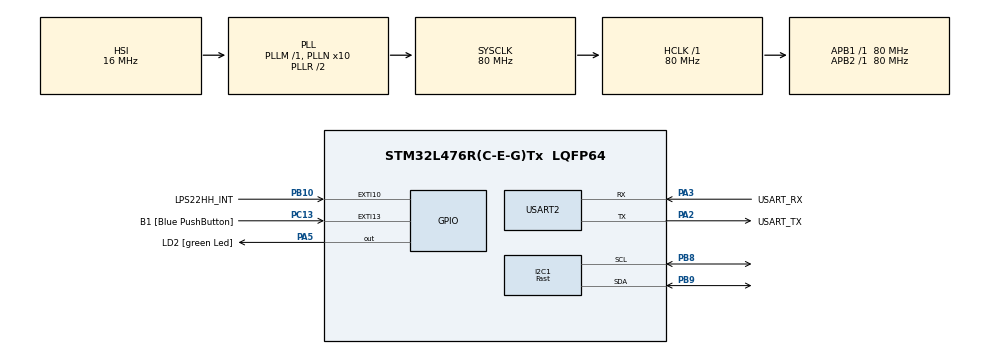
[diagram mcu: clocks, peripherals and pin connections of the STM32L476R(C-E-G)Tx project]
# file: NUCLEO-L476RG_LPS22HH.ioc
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I2C1.I2C_Speed_Mode=I2C_Fast
I2C1.Timing=0x00702991
Mcu.Family=STM32L4
Mcu.Name=STM32L476R(C-E-G)Tx
Mcu.Package=LQFP64
NVIC.EXTI15_10_IRQn=true\:0\:0\:false\:false\:true\:true\:true\:true
NVIC.PriorityGroup=NVIC_PRIORITYGROUP_4
PA2.GPIO_Label=USART_TX
PA2.GPIO_Mode=GPIO_MODE_AF_PP
PA2.GPIO_PuPd=GPIO_NOPULL
PA2.GPIO_Speed=GPIO_SPEED_FREQ_VERY_HIGH
PA2.Mode=Asynchronous
PA2.Signal=USART2_TX
PA3.GPIO_Label=USART_RX
PA3.GPIO_Mode=GPIO_MODE_AF_PP
PA3.GPIO_PuPd=GPIO_NOPULL
PA3.GPIO_Speed=GPIO_SPEED_FREQ_VERY_HIGH
PA3.Mode=Asynchronous
PA3.Signal=USART2_RX
PA5.GPIO_Label=LD2 [green Led]
PA5.GPIO_ModeDefaultOutputPP=GPIO_MODE_OUTPUT_PP
PA5.GPIO_PuPd=GPIO_NOPULL
PA5.GPIO_Speed=GPIO_SPEED_FREQ_LOW
PA5.Signal=GPIO_Output
PB10.GPIO_Label=LPS22HH_INT
PB10.Signal=GPXTI10
PB8.Mode=I2C
PB8.Signal=I2C1_SCL
PB9.Mode=I2C
PB9.Signal=I2C1_SDA
PC13.GPIO_Label=B1 [Blue PushButton]
PC13.GPIO_ModeDefaultEXTI=GPIO_MODE_IT_FALLING
PC13.GPIO_PuPd=GPIO_NOPULL
PC13.Signal=GPXTI13
ProjectManager.HeapSize=0x200
ProjectManager.StackSize=0x400
ProjectManager.TargetToolchain=STM32CubeIDE
RCC.ADCFreq_Value=64000000
RCC.AHBFreq_Value=80000000
RCC.APB1Freq_Value=80000000
RCC.APB1TimFreq_Value=80000000
RCC.APB2Freq_Value=80000000
RCC.APB2TimFreq_Value=80000000
RCC.CortexFreq_Value=80000000
RCC.HCLKFreq_Value=80000000
RCC.HSE_VALUE=8000000
RCC.HSI_VALUE=16000000
RCC.LSE_VALUE=32768
RCC.MSI_VALUE=4000000
RCC.PLLN=10
RCC.PLLSourceVirtual=RCC_PLLSOURCE_HSI
RCC.PREFETCH_ENABLE=1
RCC.SYSCLKFreq_VALUE=80000000
RCC.SYSCLKSource=RCC_SYSCLKSOURCE_PLLCLK
RCC.USBFreq_Value=64000000
RCC.VCOOutputFreq_Value=160000000
USART2.VirtualMode-Asynchronous=VM_ASYNC
board=NUCLEO-L476RG

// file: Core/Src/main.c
/* USER CODE BEGIN Header */
/**
  ******************************************************************************
  * @file           : main.c
  * @brief          : Main program body
  ******************************************************************************
  * @attention
  *
  * Copyright (c) 2022 STMicroelectronics.
  * All rights reserved.
  *
  * This software is licensed under terms that can be found in the LICENSE file
  * in the root directory of this software component.
  * If no LICENSE file comes with this software, it is provided AS-IS.
  *
  ******************************************************************************
  */
/* USER CODE END Header */
#include "main.h"

/* USER CODE BEGIN Includes */
#include <string.h>
#include <stdio.h>
#include "lps22hh_reg.h"
#include <cycle_dwt.h>
#include "NanoEdgeAI.h"

/* USER CODE END Includes */

/* USER CODE BEGIN PD */
/************************************************************ NEAI algorithm defines begin ************************************************************/
/************************************************************ Global settings part ************************************************************/
#ifndef SAMPLES
  #define SAMPLES           128         /* Should be between 16 & 4096 */
#endif
/************************************************************ Sensors configuration part ************************************************************/
#ifndef PRESSURE_ODR
  #define PRESSURE_ODR  LPS22HH_100_Hz  /* Shoud be between LPS22HH_1_Hz and LPS22HH_200_Hz */
#endif
/************************************************************ Datalogger / NEAI mode part ************************************************************/
#ifndef NEAI_MODE
  #define NEAI_MODE         0           /* 0: Datalogger mode, 1: NEAI functions mode */
#endif
#if (NEAI_MODE == 1)
  #ifndef NEAI_LEARN_NB
    #define NEAI_LEARN_NB   20          /* Number of buffers to be learn by the NEAI library */
  #endif
#endif
/************************************************************ NEAI algorithm defines end ************************************************************/
/* USER CODE END PD */

I2C_HandleTypeDef hi2c1;

UART_HandleTypeDef huart2;

/* USER CODE BEGIN PV */
static uint32_t data_raw_pressure;
static uint8_t whoamI, rst;
uint8_t neai_similarity = 0, neai_state = 0;
volatile uint8_t drdy = 0;
uint16_t neai_cnt = 0, drdy_counter = 0;
float neai_time = 0.0;
float neai_buffer[SAMPLES] = {0};
stmdev_ctx_t dev_ctx;

/* USER CODE END PV */

void SystemClock_Config(void);
static void MX_GPIO_Init(void);
static void MX_I2C1_Init(void);
static void MX_USART2_UART_Init(void);
/* USER CODE BEGIN PFP */
static int32_t platform_write(void *handle, uint8_t reg, const uint8_t *bufp, uint16_t len);
static int32_t platform_read(void *handle, uint8_t reg, uint8_t *bufp, uint16_t len);
static void lps22hh_initialize(void);
static void iks01a3_i2c_stuck_quirk(void);

/* USER CODE END PFP */

int main(void)
{
  /* USER CODE BEGIN 1 */
  /* Initialize mems driver interface */
  dev_ctx.write_reg = platform_write;
  dev_ctx.read_reg = platform_read;
  dev_ctx.handle = &hi2c1;
  /* USER CODE END 1 */

  /* MCU Configuration--------------------------------------------------------*/

  /* Reset of all peripherals, Initializes the Flash interface and the Systick. */
  HAL_Init();

  /* Configure the system clock */
  SystemClock_Config();

  /* USER CODE BEGIN SysInit */
  iks01a3_i2c_stuck_quirk();
  /* USER CODE END SysInit */

  /* Initialize all configured peripherals */
  MX_GPIO_Init();
  MX_I2C1_Init();
  MX_USART2_UART_Init();
  /* USER CODE BEGIN 2 */
  KIN1_InitCycleCounter();
  KIN1_EnableCycleCounter();
  lps22hh_initialize();
  if (NEAI_MODE) {
    neai_state = neai_anomalydetection_init();
    printf("Initialize NEAI library. NEAI init return: %d.\n",  neai_state);
  }
  /* USER CODE END 2 */

  /* Infinite loop */
  /* USER CODE BEGIN WHILE */
  while (1)
  {
    if (drdy) {
      /* Reset data ready condition */
      drdy = 0;
      /* Read pressure data */
      memset(&data_raw_pressure, 0x00, sizeof(uint32_t));
      lps22hh_pressure_raw_get(&dev_ctx, &data_raw_pressure);
      neai_buffer[drdy_counter] = lps22hh_from_lsb_to_hpa(data_raw_pressure);
      drdy_counter++;
      if (drdy_counter >= SAMPLES) {
        /* Set device in power down mode */
        lps22hh_data_rate_set(&dev_ctx, LPS22HH_POWER_DOWN);
#if NEAI_MODE
        uint32_t cycles_cnt = 0;
        if (neai_cnt < NEAI_LEARN_NB) {
          neai_cnt++;
          KIN1_ResetCycleCounter();
          neai_state = neai_anomalydetection_learn(neai_buffer);
          cycles_cnt = KIN1_GetCycleCounter();
          neai_time = (cycles_cnt * 1000000.0) / HAL_RCC_GetSysClockFreq();
          printf("Learn: %d / %d. NEAI learn return: %d. Cycles counter: %ld = %.1f µs at %ld Hz.\n",
                neai_cnt, NEAI_LEARN_NB, neai_state, cycles_cnt, neai_time, HAL_RCC_GetSysClockFreq());
        }
        else {
          KIN1_ResetCycleCounter();
          neai_state = neai_anomalydetection_detect(neai_buffer, &neai_similarity);
          cycles_cnt = KIN1_GetCycleCounter();
          neai_time = (cycles_cnt * 1000000.0) / HAL_RCC_GetSysClockFreq();
          printf("Similarity: %d / 100. NEAI detect return: %d. Cycles counter: %ld = %.1f µs at %ld Hz.\n",
                neai_similarity, neai_state, cycles_cnt, neai_time, HAL_RCC_GetSysClockFreq());
        }
#else
        for (uint16_t i = 0; i < SAMPLES; i++) {
          printf("%.3f ", neai_buffer[i]);
        }
        printf("\n");
#endif
        /* Reset drdy_counter in order to get a new buffer */
        drdy_counter = 0;
        /* Clean neai buffer */
        memset(neai_buffer, 0x00, SAMPLES * sizeof(float));
        /* Restart device at the desired data rate */
        lps22hh_data_rate_set(&dev_ctx, PRESSURE_ODR);
      }
    }
    /* USER CODE END WHILE */

  }
}

void SystemClock_Config(void)
{
  RCC_OscInitTypeDef RCC_OscInitStruct = {0};
  RCC_ClkInitTypeDef RCC_ClkInitStruct = {0};

  /** Configure the main internal regulator output voltage
  */
  if (HAL_PWREx_ControlVoltageScaling(PWR_REGULATOR_VOLTAGE_SCALE1) != HAL_OK)
  {
    Error_Handler();
  }

  /** Initializes the RCC Oscillators according to the specified parameters
  * in the RCC_OscInitTypeDef structure.
  */
  RCC_OscInitStruct.OscillatorType = RCC_OSCILLATORTYPE_HSI;
  RCC_OscInitStruct.HSIState = RCC_HSI_ON;
  RCC_OscInitStruct.HSICalibrationValue = RCC_HSICALIBRATION_DEFAULT;
  RCC_OscInitStruct.PLL.PLLState = RCC_PLL_ON;
  RCC_OscInitStruct.PLL.PLLSource = RCC_PLLSOURCE_HSI;
  RCC_OscInitStruct.PLL.PLLM = 1;
  RCC_OscInitStruct.PLL.PLLN = 10;
  RCC_OscInitStruct.PLL.PLLP = RCC_PLLP_DIV7;
  RCC_OscInitStruct.PLL.PLLQ = RCC_PLLQ_DIV2;
  RCC_OscInitStruct.PLL.PLLR = RCC_PLLR_DIV2;
  if (HAL_RCC_OscConfig(&RCC_OscInitStruct) != HAL_OK)
  {
    Error_Handler();
  }

  /** Initializes the CPU, AHB and APB buses clocks
  */
  RCC_ClkInitStruct.ClockType = RCC_CLOCKTYPE_HCLK|RCC_CLOCKTYPE_SYSCLK
                              |RCC_CLOCKTYPE_PCLK1|RCC_CLOCKTYPE_PCLK2;
  RCC_ClkInitStruct.SYSCLKSource = RCC_SYSCLKSOURCE_PLLCLK;
  RCC_ClkInitStruct.AHBCLKDivider = RCC_SYSCLK_DIV1;
  RCC_ClkInitStruct.APB1CLKDivider = RCC_HCLK_DIV1;
  RCC_ClkInitStruct.APB2CLKDivider = RCC_HCLK_DIV1;

  if (HAL_RCC_ClockConfig(&RCC_ClkInitStruct, FLASH_LATENCY_4) != HAL_OK)
  {
    Error_Handler();
  }
}

static void MX_I2C1_Init(void)
{

  hi2c1.Instance = I2C1;
  hi2c1.Init.Timing = 0x00702991;
  hi2c1.Init.OwnAddress1 = 0;
  hi2c1.Init.AddressingMode = I2C_ADDRESSINGMODE_7BIT;
  hi2c1.Init.DualAddressMode = I2C_DUALADDRESS_DISABLE;
  hi2c1.Init.OwnAddress2 = 0;
  hi2c1.Init.OwnAddress2Masks = I2C_OA2_NOMASK;
  hi2c1.Init.GeneralCallMode = I2C_GENERALCALL_DISABLE;
  hi2c1.Init.NoStretchMode = I2C_NOSTRETCH_DISABLE;
  if (HAL_I2C_Init(&hi2c1) != HAL_OK)
  {
    Error_Handler();
  }

  /** Configure Analogue filter
  */
  if (HAL_I2CEx_ConfigAnalogFilter(&hi2c1, I2C_ANALOGFILTER_ENABLE) != HAL_OK)
  {
    Error_Handler();
  }

  /** Configure Digital filter
  */
  if (HAL_I2CEx_ConfigDigitalFilter(&hi2c1, 0) != HAL_OK)
  {
    Error_Handler();
  }

}

static void MX_USART2_UART_Init(void)
{

  huart2.Instance = USART2;
  huart2.Init.BaudRate = 115200;
  huart2.Init.WordLength = UART_WORDLENGTH_8B;
  huart2.Init.StopBits = UART_STOPBITS_1;
  huart2.Init.Parity = UART_PARITY_NONE;
  huart2.Init.Mode = UART_MODE_TX_RX;
  huart2.Init.HwFlowCtl = UART_HWCONTROL_NONE;
  huart2.Init.OverSampling = UART_OVERSAMPLING_16;
  huart2.Init.OneBitSampling = UART_ONE_BIT_SAMPLE_DISABLE;
  huart2.AdvancedInit.AdvFeatureInit = UART_ADVFEATURE_NO_INIT;
  if (HAL_UART_Init(&huart2) != HAL_OK)
  {
    Error_Handler();
  }

}

static void MX_GPIO_Init(void)
{
  GPIO_InitTypeDef GPIO_InitStruct = {0};

  /* GPIO Ports Clock Enable */
  __HAL_RCC_GPIOC_CLK_ENABLE();
  __HAL_RCC_GPIOA_CLK_ENABLE();
  __HAL_RCC_GPIOB_CLK_ENABLE();

  /*Configure GPIO pin Output Level */
  HAL_GPIO_WritePin(LD2_GPIO_Port, LD2_Pin, GPIO_PIN_RESET);

  /*Configure GPIO pin : B1_Pin */
  GPIO_InitStruct.Pin = B1_Pin;
  GPIO_InitStruct.Mode = GPIO_MODE_IT_FALLING;
  GPIO_InitStruct.Pull = GPIO_NOPULL;
  HAL_GPIO_Init(B1_GPIO_Port, &GPIO_InitStruct);

  /*Configure GPIO pin : LD2_Pin */
  GPIO_InitStruct.Pin = LD2_Pin;
  GPIO_InitStruct.Mode = GPIO_MODE_OUTPUT_PP;
  GPIO_InitStruct.Pull = GPIO_NOPULL;
  GPIO_InitStruct.Speed = GPIO_SPEED_FREQ_LOW;
  HAL_GPIO_Init(LD2_GPIO_Port, &GPIO_InitStruct);

  /*Configure GPIO pin : LPS22HH_INT_Pin */
  GPIO_InitStruct.Pin = LPS22HH_INT_Pin;
  GPIO_InitStruct.Mode = GPIO_MODE_IT_RISING;
  GPIO_InitStruct.Pull = GPIO_NOPULL;
  HAL_GPIO_Init(LPS22HH_INT_GPIO_Port, &GPIO_InitStruct);

  /* EXTI interrupt init*/
  HAL_NVIC_SetPriority(EXTI15_10_IRQn, 0, 0);
  HAL_NVIC_EnableIRQ(EXTI15_10_IRQn);

}

/* USER CODE BEGIN 4 */
/**
  * @brief  Redirecting stdout to USART2 which is connected on the STLINK port
  * @retval
  * @param
  */
int __io_putchar(int ch)
{
 uint8_t c[1];
 c[0] = ch & 0x00FF;
 HAL_UART_Transmit(&huart2, &*c, 1, 10);
 return ch;
}

/**
  * @brief  EXTI line rising detection callback.
  * @param  GPIO_Pin Specifies the port pin connected to corresponding EXTI line.
  * @retval None
  */
void HAL_GPIO_EXTI_Callback(uint16_t GPIO_Pin)
{
  switch(GPIO_Pin) {
  case LPS22HH_INT_Pin:
    drdy = 1;
    break;
  }
}

/*
 * @brief  Write generic device register (platform dependent)
 *
 * @param  handle    customizable argument. In this examples is used in
 *                   order to select the correct sensor bus handler.
 * @param  reg       register to write
 * @param  bufp      pointer to data to write in register reg
 * @param  len       number of consecutive register to write
 *
 */
static int32_t platform_write(void *handle, uint8_t reg, const uint8_t *bufp, uint16_t len)
{
  HAL_I2C_Mem_Write(handle, LPS22HH_I2C_ADD_H, reg, I2C_MEMADD_SIZE_8BIT, (uint8_t*) bufp, len, 1000);
  return 0;
}

/*
 * @brief  Read generic device register (platform dependent)
 *
 * @param  handle    customizable argument. In this examples is used in
 *                   order to select the correct sensor bus handler.
 * @param  reg       register to read
 * @param  bufp      pointer to buffer that store the data read
 * @param  len       number of consecutive register to read
 *
 */
static int32_t platform_read(void *handle, uint8_t reg, uint8_t *bufp, uint16_t len)
{
  HAL_I2C_Mem_Read(handle, LPS22HH_I2C_ADD_H, reg, I2C_MEMADD_SIZE_8BIT, bufp, len, 1000);
  return 0;
}

/*
 * @brief  Initialize LPS22HH sensor interface
 *
 * @param  No
 *
 * @return No
 *
 */
static void lps22hh_initialize()
{
	/*
	 * Make sure the IRQ line is released before initializing the device
	 * otherwise it will hangs while receiving a software reset command
	 */
	if (HAL_GPIO_ReadPin(LPS22HH_INT_GPIO_Port, LPS22HH_INT_Pin)) {
		uint32_t dummy;
		lps22hh_pressure_raw_get(&dev_ctx, &dummy);
	}

  /* Check device ID */
  whoamI = 0;

  do {
    lps22hh_device_id_get(&dev_ctx, &whoamI);
  } while(whoamI != LPS22HH_ID);

  /* Restore default configuration */
  lps22hh_reset_set(&dev_ctx, PROPERTY_ENABLE);

  do {
    lps22hh_reset_get(&dev_ctx, &rst);
  } while (rst);

  /* Enable Block Data Update */
  lps22hh_block_data_update_set(&dev_ctx, PROPERTY_ENABLE);
  /* Set Output Data Rate */
  lps22hh_data_rate_set(&dev_ctx, PRESSURE_ODR);
  /* Enable interrupt generation on new data ready */
  uint8_t int_conf = 0x04;
  lps22hh_write_reg(&dev_ctx, LPS22HH_CTRL_REG3, &int_conf, 1);
}

/*
 * Pressing the reset button while the sensor is answering to a read request
 * might lead to disaster.
 * In this case the device is stuck, waiting for pulses on SCL to finish the
 * previous transfer.
 * While stuck the sensor keep the SDA low.
 *
 * As a workaround we simply configure the SCL pin as a GPIO and send a burst
 * of pulses to bring the sensor back to an idle state.
 */
static void iks01a3_i2c_stuck_quirk(void)
{
  GPIO_InitTypeDef GPIO_InitStruct = {0};

  /* GPIO Ports Clock Enable */
  __HAL_RCC_GPIOB_CLK_ENABLE();

  /* Configure SCL as a GPIO */
  GPIO_InitStruct.Pin = SCL_PIN;
  GPIO_InitStruct.Mode = GPIO_MODE_OUTPUT_PP;
  GPIO_InitStruct.Pull = GPIO_NOPULL;
  GPIO_InitStruct.Speed = GPIO_SPEED_FREQ_LOW;
  GPIO_InitStruct.Alternate = GPIO_AF4_I2C1;
  HAL_GPIO_Init(SCL_PORT, &GPIO_InitStruct);

  /* Send a burst of pulses on SCL */
  int pulses = 20;
  do {
    HAL_Delay(1);
    HAL_GPIO_WritePin(SCL_PORT, SCL_PIN, GPIO_PIN_RESET);
    HAL_Delay(1);
    HAL_GPIO_WritePin(SCL_PORT, SCL_PIN, GPIO_PIN_SET);
  } while (pulses--);

  /* GPIO Ports Clock Enable */
  __HAL_RCC_GPIOB_CLK_DISABLE();
}

/* USER CODE END 4 */

void Error_Handler(void)
{
  __disable_irq();
  while (1)
  {
  }
}
